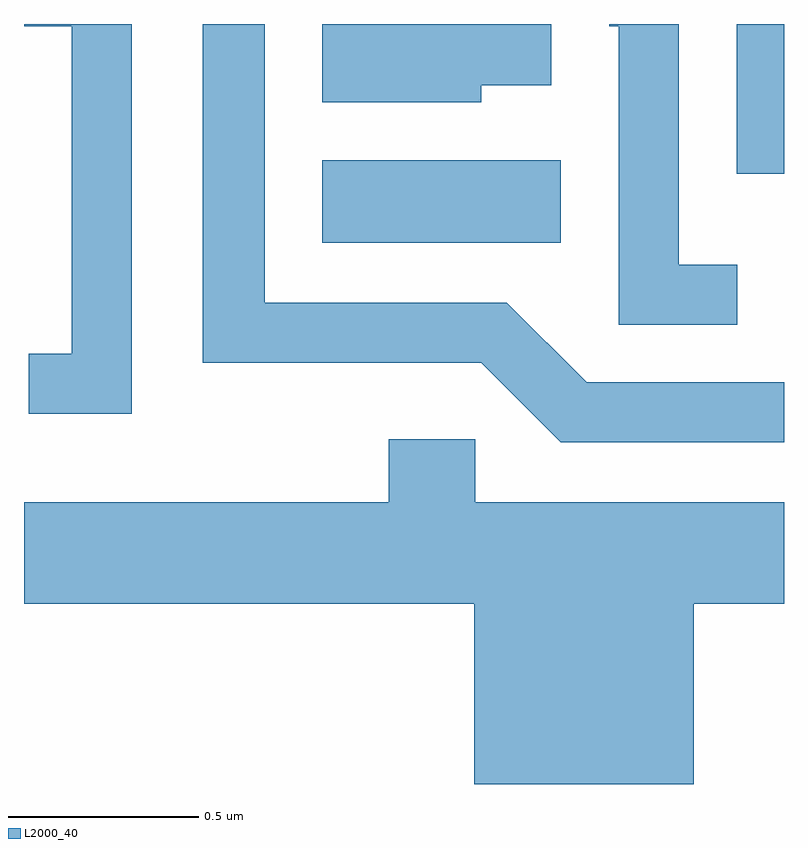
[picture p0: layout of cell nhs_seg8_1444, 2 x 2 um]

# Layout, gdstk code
import gdstk
lib = gdstk.Library(unit=1e-6, precision=1e-09)
def R(c, l, rs):  # rectangles x0, y0, x1, y1
    for r in rs: c.add(gdstk.rectangle(r[:2], r[2:], *l))
def P(c, l, *ps):  # polygons
    for p in ps: c.add(gdstk.Polygon(p, *l))
L2000_40 = (2000, 40)

nhs_seg8_1444 = lib.new_cell('nhs_seg8_1444')
R(nhs_seg8_1444, L2000_40, [(196.396,1881.766,197.024,1881.984), (197.486,1881.948,197.611,1882.342)])
P(nhs_seg8_1444, L2000_40, [(197.488,1881.709),(197.334,1881.709),(197.334,1882.342),(197.151,1882.342),(197.151,1882.336),(197.176,1882.336),(197.176,1881.551),(197.488,1881.551)],
  [(196.814,1882.181),(196.999,1882.181),(196.999,1882.342),(196.396,1882.342),(196.396,1882.136),(196.814,1882.136)],
  [(197.611,1881.399),(197.092,1881.399),(196.882,1881.609),(196.244,1881.609),(196.244,1882.342),(196.081,1882.342),(196.081,1881.451),(196.814,1881.451),(197.024,1881.241),(197.611,1881.241)],
  [(195.894,1882.342),(195.611,1882.342),(195.611,1882.336),(195.736,1882.336),(195.736,1881.474),(195.623,1881.474),(195.623,1881.316),(195.894,1881.316)],
  [(197.374,1880.816),(197.611,1880.816),(197.611,1881.084),(196.799,1881.084),(196.799,1881.249),(196.571,1881.249),(196.571,1881.084),(195.611,1881.084),(195.611,1880.816),(196.796,1880.816),(196.796,1880.342),(197.374,1880.342)])

lib.write_gds('nhs_seg8_1444.gds')
